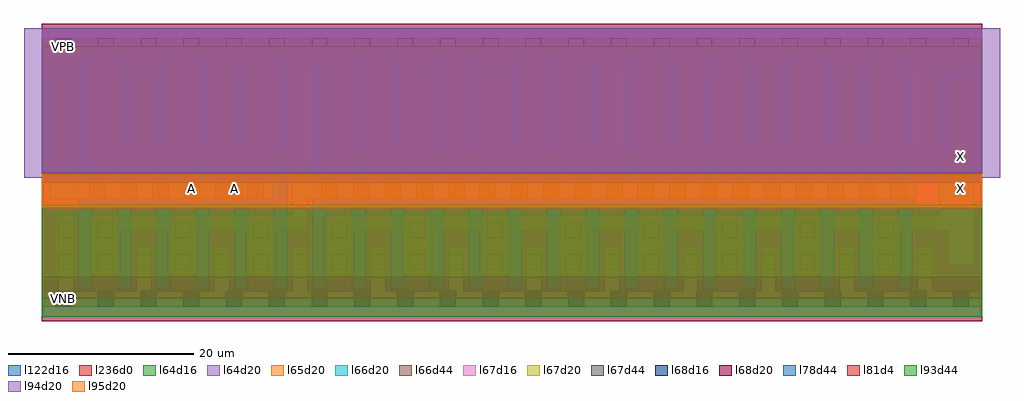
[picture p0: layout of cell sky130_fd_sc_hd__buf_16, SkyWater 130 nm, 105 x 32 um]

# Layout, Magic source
magic
tech sky130a
<< l66d20 >>
rect 395 105 545 1025
rect 815 105 965 1025
rect 1235 105 1385 1025
rect 1655 105 1805 1025
rect 2075 105 2225 1025
rect 2495 105 2645 1025
rect 395 1025 2645 1295
rect 395 1295 545 2615
rect 815 1295 965 2615
rect 1235 1295 1385 2615
rect 1655 1295 1805 2615
rect 2075 1295 2225 2615
rect 2495 1295 2645 2615
rect 2915 105 3065 1025
rect 3335 105 3485 1025
rect 3755 105 3905 1025
rect 4175 105 4325 1025
rect 4595 105 4745 1025
rect 5015 105 5165 1025
rect 5435 105 5585 1025
rect 5855 105 6005 1025
rect 6275 105 6425 1025
rect 6695 105 6845 1025
rect 7115 105 7265 1025
rect 7535 105 7685 1025
rect 7955 105 8105 1025
rect 8375 105 8525 1025
rect 8795 105 8945 1025
rect 9215 105 9365 1025
rect 2915 1025 9385 1295
rect 2915 1295 3065 2615
rect 3335 1295 3485 2615
rect 3755 1295 3905 2615
rect 4175 1295 4325 2615
rect 4595 1295 4745 2615
rect 5015 1295 5165 2615
rect 5435 1295 5585 2615
rect 5855 1295 6005 2615
rect 6275 1295 6425 2615
rect 6695 1295 6845 2615
rect 7115 1295 7265 2615
rect 7535 1295 7685 2615
rect 7955 1295 8105 2615
rect 8375 1295 8525 2615
rect 8795 1295 8945 2615
rect 9215 1295 9365 2615
<< l94d20 >>
rect 0 1355 10120 2910
<< l66d44 >>
rect 4715 1075 4885 1245
rect 4795 2225 4965 2395
rect 4795 1885 4965 2055
rect 4795 1545 4965 1715
rect 4795 655 4965 825
rect 4795 315 4965 485
rect 5055 1075 5225 1245
rect 5215 2255 5385 2425
rect 5215 1915 5385 2085
rect 5215 315 5385 485
rect 5395 1075 5565 1245
rect 5635 2225 5805 2395
rect 5635 1885 5805 2055
rect 5635 1545 5805 1715
rect 5635 655 5805 825
rect 5635 315 5805 485
rect 5735 1075 5905 1245
rect 6055 2255 6225 2425
rect 6055 1915 6225 2085
rect 6055 315 6225 485
rect 6075 1075 6245 1245
rect 6415 1075 6585 1245
rect 6475 2225 6645 2395
rect 6475 1885 6645 2055
rect 6475 1545 6645 1715
rect 6475 655 6645 825
rect 6475 315 6645 485
rect 6755 1075 6925 1245
rect 6895 2255 7065 2425
rect 6895 1915 7065 2085
rect 9415 315 9585 485
rect 6895 315 7065 485
rect 7095 1075 7265 1245
rect 7315 2225 7485 2395
rect 7315 1885 7485 2055
rect 7315 1545 7485 1715
rect 7315 655 7485 825
rect 7315 315 7485 485
rect 7435 1075 7605 1245
rect 7735 2255 7905 2425
rect 7735 1915 7905 2085
rect 7735 315 7905 485
rect 7775 1075 7945 1245
rect 8115 1075 8285 1245
rect 8155 2225 8325 2395
rect 8155 1885 8325 2055
rect 8155 1545 8325 1715
rect 8155 655 8325 825
rect 8155 315 8325 485
rect 8455 1075 8625 1245
rect 8575 2255 8745 2425
rect 8575 1915 8745 2085
rect 8575 315 8745 485
rect 8795 1075 8965 1245
rect 8995 2225 9165 2395
rect 8995 1885 9165 2055
rect 8995 1545 9165 1715
rect 8995 655 9165 825
rect 8995 315 9165 485
rect 9135 1075 9305 1245
rect 9415 2255 9585 2425
rect 9415 1915 9585 2085
rect 1015 1915 1185 2085
rect 1015 315 1185 485
rect 1195 1075 1365 1245
rect 1435 2225 1605 2395
rect 1855 1915 2025 2085
rect 1855 315 2025 485
rect 1875 1075 2045 1245
rect 2215 1075 2385 1245
rect 2275 2225 2445 2395
rect 2275 1885 2445 2055
rect 2275 1545 2445 1715
rect 2275 655 2445 825
rect 2275 315 2445 485
rect 2695 2255 2865 2425
rect 3955 1885 4125 2055
rect 3955 1545 4125 1715
rect 3955 655 4125 825
rect 3955 315 4125 485
rect 4035 1075 4205 1245
rect 4375 2255 4545 2425
rect 4375 1915 4545 2085
rect 4375 1075 4545 1245
rect 4375 315 4545 485
rect 1435 1885 1605 2055
rect 1435 1545 1605 1715
rect 1435 655 1605 825
rect 1435 315 1605 485
rect 1535 1075 1705 1245
rect 1855 2255 2025 2425
rect 595 1885 765 2055
rect 595 1545 765 1715
rect 595 655 765 825
rect 595 315 765 485
rect 855 1075 1025 1245
rect 1015 2255 1185 2425
rect 175 2255 345 2425
rect 175 1915 345 2085
rect 175 1575 345 1745
rect 175 655 345 825
rect 175 315 345 485
rect 515 1075 685 1245
rect 595 2225 765 2395
rect 3535 2255 3705 2425
rect 3535 1915 3705 2085
rect 3535 315 3705 485
rect 3695 1075 3865 1245
rect 3955 2225 4125 2395
rect 2695 1915 2865 2085
rect 2695 315 2865 485
rect 3015 1075 3185 1245
rect 3115 2225 3285 2395
rect 3115 1885 3285 2055
rect 3115 1545 3285 1715
rect 3115 655 3285 825
rect 3115 315 3285 485
rect 3355 1075 3525 1245
<< l67d44 >>
rect 8425 2635 8595 2805
rect 8425 -85 8595 85
rect 145 2635 315 2805
rect 145 -85 315 85
rect 605 2635 775 2805
rect 605 -85 775 85
rect 1065 2635 1235 2805
rect 1065 -85 1235 85
rect 1525 2635 1695 2805
rect 1525 -85 1695 85
rect 1985 2635 2155 2805
rect 1985 -85 2155 85
rect 2445 2635 2615 2805
rect 2445 -85 2615 85
rect 2905 2635 3075 2805
rect 2905 -85 3075 85
rect 3365 2635 3535 2805
rect 3365 -85 3535 85
rect 3825 2635 3995 2805
rect 3825 -85 3995 85
rect 4285 2635 4455 2805
rect 4285 -85 4455 85
rect 4745 2635 4915 2805
rect 4745 -85 4915 85
rect 5205 2635 5375 2805
rect 5205 -85 5375 85
rect 5665 2635 5835 2805
rect 5665 -85 5835 85
rect 6125 2635 6295 2805
rect 6125 -85 6295 85
rect 6585 2635 6755 2805
rect 6585 -85 6755 85
rect 7045 2635 7215 2805
rect 7045 -85 7215 85
rect 7505 2635 7675 2805
rect 7505 -85 7675 85
rect 7965 2635 8135 2805
rect 7965 -85 8135 85
rect 8885 2635 9055 2805
rect 8885 -85 9055 85
rect 9345 2635 9515 2805
rect 9345 -85 9515 85
rect 9805 2635 9975 2805
rect 9805 -85 9975 85
<< l95d20 >>
rect 0 975 10120 1345
<< l67d20 >>
rect 0 -85 10120 85
rect 1015 85 1185 565
rect 1855 85 2025 565
rect 2695 85 2865 565
rect 3535 85 3705 565
rect 4375 85 4545 565
rect 5215 85 5385 565
rect 6055 85 6225 565
rect 6895 85 7065 565
rect 7735 85 7905 565
rect 8575 85 8745 565
rect 9415 85 9585 565
rect 175 85 345 905
rect 175 1445 345 2635
rect 1015 1835 1185 2635
rect 1855 1835 2025 2635
rect 2695 1835 2865 2635
rect 3535 1835 3705 2635
rect 4375 1835 4545 2635
rect 5215 1835 5385 2635
rect 6055 1835 6225 2635
rect 6895 1835 7065 2635
rect 7735 1835 7905 2635
rect 8575 1835 8745 2635
rect 9415 1835 9585 2635
rect 0 2635 10120 2805
rect 515 260 845 735
rect 1355 260 1685 735
rect 2195 260 2525 735
rect 515 735 2865 905
rect 2690 905 2865 1075
rect 2690 1075 9410 1275
rect 2690 1275 2865 1445
rect 515 1445 2865 1615
rect 515 1615 845 2465
rect 1355 1615 1685 2465
rect 2195 1615 2525 2465
rect 3035 255 3285 260
rect 3955 255 4125 260
rect 4795 255 4965 260
rect 3035 260 3365 735
rect 3875 260 4205 735
rect 4715 260 5045 735
rect 5555 260 5885 735
rect 6395 260 6725 735
rect 7235 260 7565 735
rect 8075 260 8405 735
rect 8915 260 9245 735
rect 9760 365 10035 735
rect 3035 735 10035 905
rect 9655 905 10035 1445
rect 3035 1445 10035 1615
rect 9760 1615 10035 2360
rect 3035 1615 3365 2465
rect 3875 1615 4205 2465
rect 4715 1615 5045 2465
rect 5555 1615 5885 2465
rect 6395 1615 6725 2465
rect 7235 1615 7565 2465
rect 8075 1615 8405 2465
rect 8915 1615 9245 2465
rect 85 1075 2485 1275
<< l68d20 >>
rect 0 -240 10120 240
rect 0 2480 10120 2960
<< l65d20 >>
rect 135 1485 9625 2485
rect 135 235 9625 885
<< l93d44 >>
rect 0 -190 10120 1015
<< l64d20 >>
rect -190 1305 10310 2910
<< l68d16 >>
rect 150 -85 320 85
rect 150 2635 320 2805
<< l236d0 >>
rect 0 0 10120 2720
<< l122d16 >>
rect 150 -85 320 85
<< l64d16 >>
rect 150 2635 320 2805
<< l81d4 >>
rect 0 0 10120 2720
<< l78d44 >>
rect 0 1250 10120 2720
<< l67d16 >>
rect 1530 1105 1700 1275
rect 1990 1105 2160 1275
rect 9805 1445 9975 1615
rect 9805 1105 9975 1275
<< labels >>
rlabel l67d5 2075 1190 2075 1190 0 A
rlabel l67d5 1615 1190 1615 1190 0 A
rlabel l67d5 9890 1190 9890 1190 0 X
rlabel l67d5 9890 1530 9890 1530 0 X
rlabel l64d59 235 0 235 0 0 VNB
rlabel l64d5 235 2720 235 2720 0 VPB
rlabel l68d5 230 0 230 0 0 VGND
rlabel l68d5 230 2720 230 2720 0 VPWR
rlabel l83d44 0 0 0 0 0 buf_16
<< end >>
